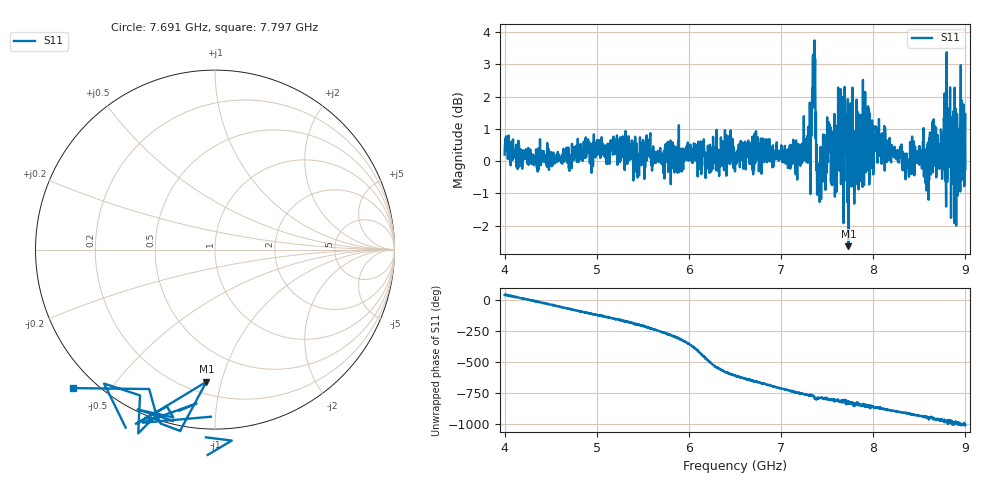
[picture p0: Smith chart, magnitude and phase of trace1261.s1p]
! Created with skrf 1.8.0 (http://scikit-rf.org).
# Hz S RI R 50.0
!freq ReS11 ImS11
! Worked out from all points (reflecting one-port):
!   1601 points, 4 GHz to 9 GHz, reference 50 ohm
!   lowest |S11| = -2.6 dB at 7.731 GHz (marker M1), VSWR 6.63, Z = 13.9 - j44.9 ohm
!   phase of S11 starts at 44 deg and turns -1052 deg over the sweep
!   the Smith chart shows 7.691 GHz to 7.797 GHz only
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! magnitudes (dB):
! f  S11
! 4 GHz  0.2
! 4.625 GHz  -0.1
! 5.25 GHz  0.0
! 5.875 GHz  0.2
! 6.5 GHz  -0.3
! 7.125 GHz  0.2
! 7.294 GHz  0.0
! 7.347 GHz  3.3
! 7.362 GHz  3.7
! 7.397 GHz  -0.8
! 7.412 GHz  -0.8
! 7.512 GHz  1.1
! 7.588 GHz  -0.2
! 7.65 GHz  -0.7
! 7.688 GHz  2.2
! 7.731 GHz  -2.6
! 7.75 GHz  0.1
! 7.788 GHz  0.9
! 7.928 GHz  0.5
! 8.375 GHz  -0.1
! 8.522 GHz  0.0
! 8.603 GHz  0.1
! 8.656 GHz  1.3
! 8.769 GHz  1.2
! 8.816 GHz  -0.1
! 8.862 GHz  -0.7
! 8.972 GHz  0.6
! 9 GHz  -0.2
